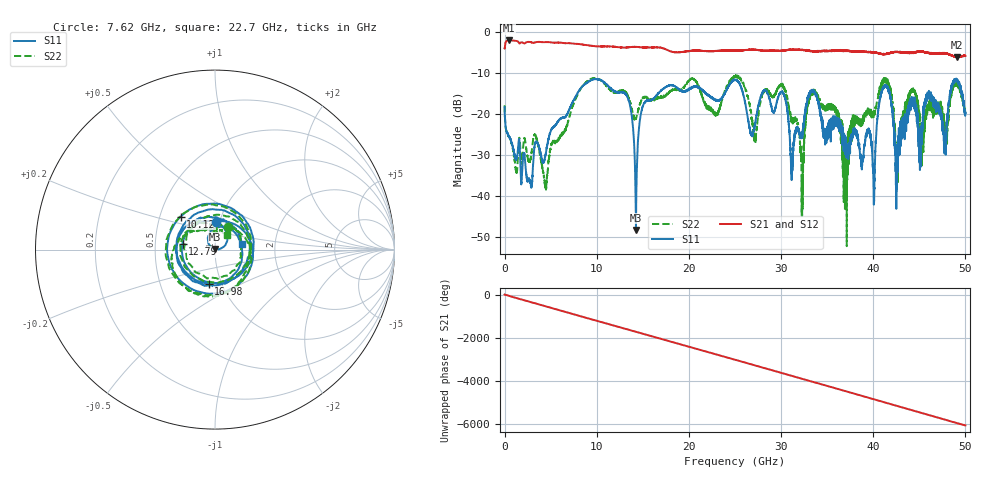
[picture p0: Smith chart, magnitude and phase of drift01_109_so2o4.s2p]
!Created with skrf (http://scikit-rf.org).
# Hz S RI R 50.0
!freq ReS11 ImS11 ReS21 ImS21 ReS12 ImS12 ReS22 ImS22
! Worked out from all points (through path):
!   10001 points, 300 kHz to 50 GHz, reference 50 ohm
!   highest |S21| = -2.00 dB at 490.3 MHz (marker M1); lowest = -6.0 dB at 49.05 GHz (marker M2)
!   group delay of S21, straight-line fit = 336 ps
!   lowest |S11| = -48.4 dB at 14.25 GHz (marker M3), VSWR 1.01, Z = 50.1 + j0.375 ohm
!   |S11| at or under -10 dB: start of sweep to end of sweep
!   |S22| runs from -52.4 to -10.6 dB; largest |S21 - S12| = 0.022
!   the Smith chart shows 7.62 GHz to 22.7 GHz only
!   S11 on the Smith chart (normalised r, x): 7.62 GHz: 0.97, +0.31; 10.12 GHz: 0.64, +0.25; 12.79 GHz: 0.69, +0.05; 16.98 GHz: 0.87, -0.34; 22.7 GHz: 1.35, +0.09
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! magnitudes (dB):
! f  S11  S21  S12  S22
! 300 kHz  -18.3  -4.0  -4.0  -17.9
! 490.3 MHz  -25.5  -2.0  -2.0  -25.4
! 4.44 GHz  -30.0  -2.4  -2.4  -37.7
! 7.62 GHz  -16.1  -2.8  -2.8  -16.8
! 8.335 GHz  -13.5  -3.0  -3.0  -13.5
! 10.12 GHz  -11.5  -3.4  -3.4  -11.4
! 12.79 GHz  -14.7  -3.7  -3.7  -14.3
! 14.25 GHz  -48.4  -3.6  -3.6  -21.2
! 16.67 GHz  -14.9  -3.7  -3.7  -15.8
! 16.98 GHz  -14.2  -3.8  -3.8  -15.6
! 22.7 GHz  -16.2  -4.6  -4.6  -19.3
! 25 GHz  -11.6  -4.5  -4.5  -11.0
! 27.15 GHz  -22.6  -4.2  -4.3  -25.9
! 30.21 GHz  -14.9  -4.5  -4.5  -13.4
! 32.27 GHz  -25.5  -4.4  -4.3  -41.8
! 33.34 GHz  -14.2  -4.6  -4.6  -14.7
! 37.03 GHz  -26.2  -4.5  -4.6  -38.8
! 40.06 GHz  -41.1  -4.9  -4.9  -20.0
! 41.67 GHz  -14.0  -5.1  -5.1  -12.8
! 42.57 GHz  -35.9  -4.8  -4.8  -30.6
! 49.05 GHz  -11.5  -6.0  -6.0  -12.5
! 50 GHz  -19.7  -5.8  -5.8  -19.5
